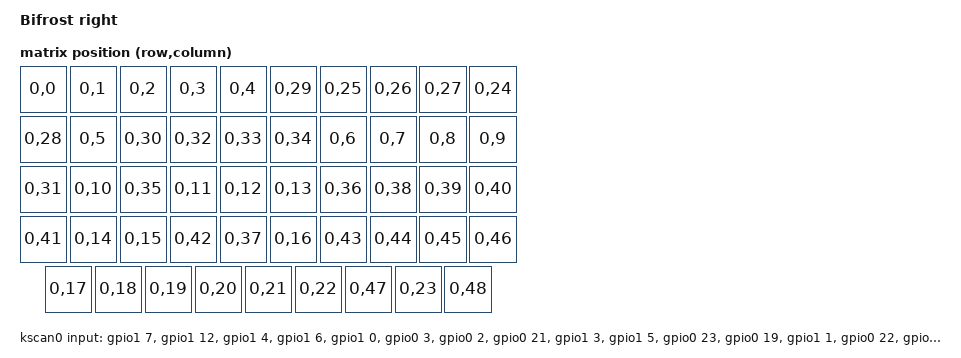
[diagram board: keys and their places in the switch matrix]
/dts-v1/;
#include <nordic/nrf52840_qiaa.dtsi>
#include <dt-bindings/zmk/matrix_transform.h>
#include <common/nordic/nrf52840_uf2_boot_mode.dtsi>

/ {
    model = "Bifrost right";
    compatible = "hringbord,bifrost_right";

    chosen {
        zephyr,sram = &sram0;
        zephyr,flash = &flash0;
        zephyr,code-partition = &code_partition;
        zmk,kscan = &kscan0;
        zmk,matrix-transform = &default_transform;
    };

    default_transform: keymap_transform_0 {
        compatible = "zmk,matrix-transform";
        columns = <49>;
        rows = <1>;
        map = <
            RC(0,0) RC(0,1) RC(0,2) RC(0,3) RC(0,4) RC(0,29) RC(0,25) RC(0,26) RC(0,27) RC(0,24)
            RC(0,28) RC(0,5) RC(0,30) RC(0,32) RC(0,33) RC(0,34) RC(0,6) RC(0,7) RC(0,8) RC(0,9)
            RC(0,31) RC(0,10) RC(0,35) RC(0,11) RC(0,12) RC(0,13) RC(0,36) RC(0,38) RC(0,39) RC(0,40)
            RC(0,41) RC(0,14) RC(0,15) RC(0,42) RC(0,37) RC(0,16) RC(0,43) RC(0,44) RC(0,45) RC(0,46)
            RC(0,17) RC(0,18) RC(0,19) RC(0,20) RC(0,21) RC(0,22) RC(0,47) RC(0,23) RC(0,48)
        >;
    };

    kscan0: kscan {
        compatible = "zmk,kscan-gpio-direct";
        wakeup-source;

        input-gpios
            = <&gpio1 7 (GPIO_ACTIVE_LOW | GPIO_PULL_UP)> /* Direct 0: P1.07 */
            , <&gpio1 12 (GPIO_ACTIVE_LOW | GPIO_PULL_UP)> /* Direct 1: P1.12 */
            , <&gpio1 4 (GPIO_ACTIVE_LOW | GPIO_PULL_UP)> /* Direct 2: P1.04 */
            , <&gpio1 6 (GPIO_ACTIVE_LOW | GPIO_PULL_UP)> /* Direct 3: P1.06 */
            , <&gpio1 0 (GPIO_ACTIVE_LOW | GPIO_PULL_UP)> /* Direct 4: P1.00 */
            , <&gpio0 3 (GPIO_ACTIVE_LOW | GPIO_PULL_UP)> /* Direct 5: P0.03 */
            , <&gpio0 2 (GPIO_ACTIVE_LOW | GPIO_PULL_UP)> /* Direct 6: P0.02 */
            , <&gpio0 21 (GPIO_ACTIVE_LOW | GPIO_PULL_UP)> /* Direct 7: P0.21 */
            , <&gpio1 3 (GPIO_ACTIVE_LOW | GPIO_PULL_UP)> /* Direct 8: P1.03 */
            , <&gpio1 5 (GPIO_ACTIVE_LOW | GPIO_PULL_UP)> /* Direct 9: P1.05 */
            , <&gpio0 23 (GPIO_ACTIVE_LOW | GPIO_PULL_UP)> /* Direct 10: P0.23 */
            , <&gpio0 19 (GPIO_ACTIVE_LOW | GPIO_PULL_UP)> /* Direct 11: P0.19 */
            , <&gpio1 1 (GPIO_ACTIVE_LOW | GPIO_PULL_UP)> /* Direct 12: P1.01 */
            , <&gpio0 22 (GPIO_ACTIVE_LOW | GPIO_PULL_UP)> /* Direct 13: P0.22 */
            , <&gpio0 20 (GPIO_ACTIVE_LOW | GPIO_PULL_UP)> /* Direct 14: P0.20 */
            , <&gpio0 17 (GPIO_ACTIVE_LOW | GPIO_PULL_UP)> /* Direct 15: P0.17 */
            , <&gpio0 15 (GPIO_ACTIVE_LOW | GPIO_PULL_UP)> /* Direct 16: P0.15 */
            , <&gpio0 13 (GPIO_ACTIVE_LOW | GPIO_PULL_UP)> /* Direct 17: P0.13 */
            , <&gpio0 24 (GPIO_ACTIVE_LOW | GPIO_PULL_UP)> /* Direct 18: P0.24 */
            , <&gpio1 10 (GPIO_ACTIVE_LOW | GPIO_PULL_UP)> /* Direct 19: P1.10 */
            , <&gpio1 11 (GPIO_ACTIVE_LOW | GPIO_PULL_UP)> /* Direct 20: P1.11 */
            , <&gpio1 2 (GPIO_ACTIVE_LOW | GPIO_PULL_UP)> /* Direct 21: P1.02 */
            , <&gpio0 25 (GPIO_ACTIVE_LOW | GPIO_PULL_UP)> /* Direct 22: P0.25 */
            , <&gpio0 28 (GPIO_ACTIVE_LOW | GPIO_PULL_UP)> /* Direct 23: P0.28 */
            , <&gpio0 30 (GPIO_ACTIVE_LOW | GPIO_PULL_UP)> /* Direct 24: P0.30 */
            ;
    };


};
#include <zephyr/dt-bindings/input/input-event-codes.h>

&pinctrl {
    smidr_pmw3610_spi0_default: smidr_pmw3610_spi0_default {
        group1 {
            psels = <NRF_PSEL(SPIM_SCK, 0, 16)>, <NRF_PSEL(SPIM_MOSI, 0, 14)>, <NRF_PSEL(SPIM_MISO, 0, 14)>;
        };
    };
};

&spi0 {
    status = "okay";
    pinctrl-0 = <&smidr_pmw3610_spi0_default>;
    pinctrl-names = "default";
    cs-gpios = <&gpio0 5 GPIO_ACTIVE_LOW /* Trackball 0 CS: P0.05 */>;
    trackball_0: pmw3610@0 {
        compatible = "pixart,pmw3610";
        reg = <0>;
        spi-max-frequency = <2000000>;
        spi-cpol;
        spi-cpha;
        motion-gpios = <&gpio0 26 (GPIO_ACTIVE_LOW | GPIO_PULL_UP) /* Trackball 0 MOTION: P0.26 */>;
        zephyr,axis-x = <INPUT_REL_X>;
        zephyr,axis-y = <INPUT_REL_Y>;
        res-cpi = <1200>;
    };
};

/ {
    trackball_listener_0 {
        compatible = "zmk,input-listener";
        device = <&trackball_0>;
    };
};


&default_transform {
    col-offset = <24>;
};



&gpio0 {
    status = "okay";
};

&gpio1 {
    status = "okay";
};

&gpiote {
    status = "okay";
};

zephyr_udc0: &usbd {
    status = "okay";
};

&flash0 {
    partitions {
        compatible = "fixed-partitions";
        #address-cells = <1>;
        #size-cells = <1>;

        code_partition: partition@26000 {
            label = "code_partition";
            reg = <0x00026000 0x000d2000>;
        };

        storage_partition: partition@f8000 {
            label = "storage";
            reg = <0x000f8000 0x00008000>;
        };
    };
};
